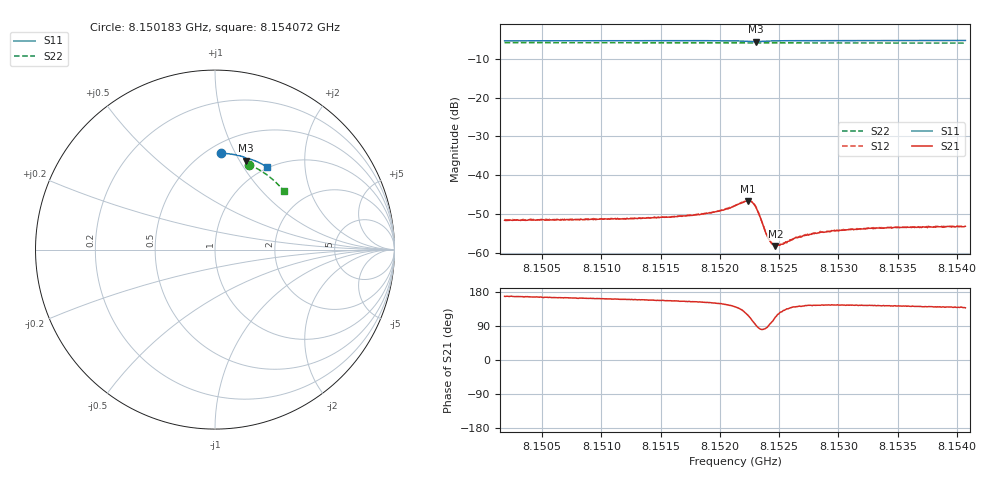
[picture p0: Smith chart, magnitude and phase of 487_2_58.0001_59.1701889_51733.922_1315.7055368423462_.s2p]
#  HZ  S  RI  R  50.00
! Rohde & Schwarz Vector Network Analyzer
! Rohde-Schwarz,ZNB20-2Port,1311601062101988,3.16
! Created: UTC 3/21/2024, 1:12:07 AM
! freq[Hz]  re:S11  im:S11  re:S21  im:S21  re:S12  im:S12  re:S22  im:S22
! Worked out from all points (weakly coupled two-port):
!   401 points, 8.150183 GHz to 8.154072 GHz, reference 50 ohm
!   highest |S21| = -46.59 dB at 8.152235 GHz (marker M1); lowest = -58.2 dB at 8.152468 GHz (marker M2)
!   lowest |S11| = -5.6 dB at 8.152303 GHz (marker M3), VSWR 3.21, Z = 38.9 + j53.3 ohm
!   |S11| at or under -10 dB: nowhere
!   |S22| runs from -6.0 to -5.9 dB; largest |S21 - S12| = 0.00014
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8.1501833e9  0.0359 0.5372  -0.00258 0.000549  -0.00263 0.000595  0.1875 0.4741
8.1508347e9  0.0813 0.5333  -0.00259 0.000792  -0.00259 0.000856  0.2253 0.4561
8.1514861e9  0.1264 0.5254  -0.00262 0.00111  -0.00265 0.00116  0.2614 0.4355
8.1517e9  0.1415 0.5217  -0.00272 0.00126  -0.0027 0.0013  0.2729 0.4279
8.1518458e9  0.1519 0.5188  -0.00281 0.00145  -0.00284 0.00149  0.2805 0.4226
8.1520111e9  0.1643 0.5142  -0.00302 0.00182  -0.00299 0.00192  0.289 0.4164
8.1521277e9  0.1735 0.509  -0.00312 0.00259  -0.00313 0.00262  0.2952 0.4119
8.1522347e9  0.1781 0.4988  -0.00226 0.0041  -0.00227 0.00415  0.3002 0.4076
8.1522736e9  0.1752 0.4957  -0.00108 0.00436  -0.00104 0.00444  0.3017 0.4059
8.1523027e9  0.1722 0.4962  -0.000153 0.00392  -8.76e-05 0.00398  0.3032 0.4049
8.1523222e9  0.1712 0.498  0.000244 0.00336  0.000302 0.00341  0.3041 0.4043
8.1523902e9  0.1743 0.5043  0.000175 0.00176  0.000228 0.0018  0.3075 0.4021
8.1524097e9  0.1762 0.5053  -3.51e-06 0.00154  1.98e-05 0.00153  0.3086 0.4012
8.1524389e9  0.1791 0.5059  -0.000238 0.00129  -0.000228 0.00132  0.31 0.4001
8.152468e9  0.1819 0.5062  -0.000478 0.00113  -0.000456 0.00116  0.3116 0.3989
8.1524875e9  0.1838 0.5063  -0.000634 0.00108  -0.000607 0.0011  0.3124 0.3982
8.1525264e9  0.1871 0.5059  -0.000798 0.00102  -0.00081 0.00103  0.3145 0.3965
8.152643e9  0.1967 0.504  -0.00123 0.00101  -0.00119 0.000993  0.3202 0.3919
8.1527791e9  0.2066 0.5008  -0.00141 0.00105  -0.00143 0.00104  0.3266 0.386
8.1529639e9  0.2193 0.496  -0.00159 0.00111  -0.0016 0.00114  0.3353 0.3783
8.1534305e9  0.2495 0.4825  -0.0017 0.00126  -0.0017 0.00129  0.3563 0.3575
8.1540722e9  0.2887 0.4615  -0.00163 0.00148  -0.00163 0.00149  0.3831 0.3271
